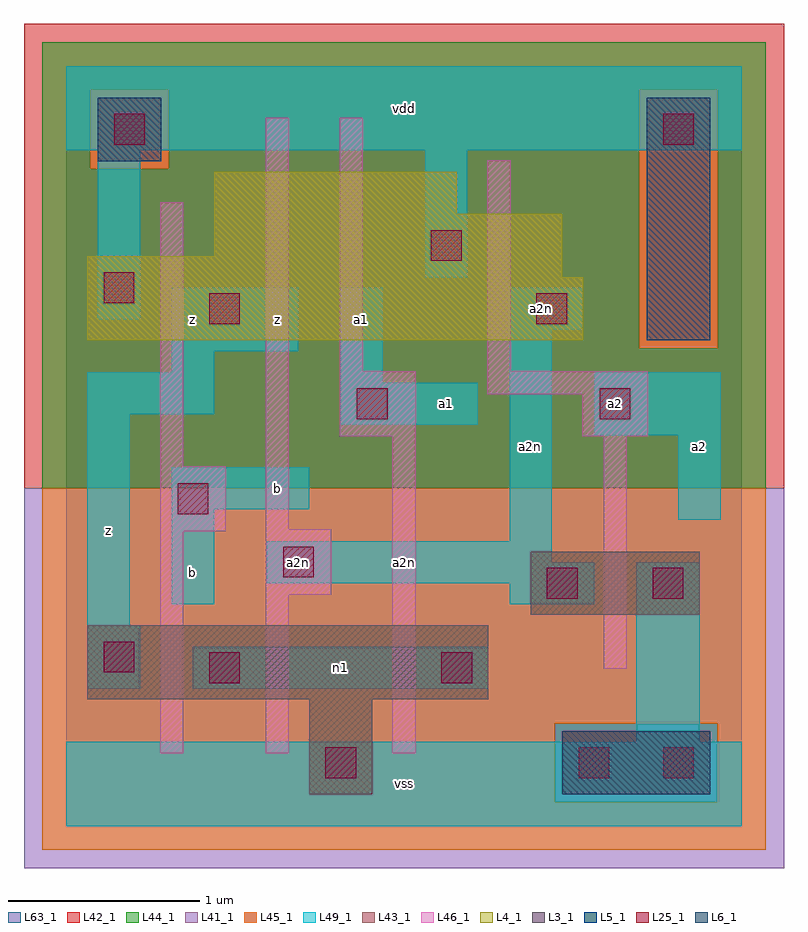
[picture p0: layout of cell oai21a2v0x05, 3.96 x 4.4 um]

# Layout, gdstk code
import gdstk
lib = gdstk.Library(unit=1e-6, precision=1e-09)
def R(c, l, rs):  # rectangles x0, y0, x1, y1
    for r in rs: c.add(gdstk.rectangle(r[:2], r[2:], *l))
L3_1 = (3, 1)
L4_1 = (4, 1)
L5_1 = (5, 1)
L6_1 = (6, 1)
L25_1 = (25, 1)
L41_1 = (41, 1)
L42_1 = (42, 1)
L43_1 = (43, 1)
L44_1 = (44, 1)
L45_1 = (45, 1)
L46_1 = (46, 1)
L49_1 = (49, 1)
L63_1 = (63, 1)

oai21a2v0x05 = lib.new_cell('oai21a2v0x05')
R(oai21a2v0x05, L3_1, [(1.265,0.165,1.595,0.66), (0.11,0.66,2.2,1.045), (2.42,1.1,3.3,1.43)])
R(oai21a2v0x05, L4_1, [(0.11,2.53,2.695,2.86), (0.11,2.86,2.585,2.97), (0.77,2.97,2.585,3.19), (0.77,3.19,2.035,3.41)])
R(oai21a2v0x05, L5_1, [(3.025,2.53,3.355,3.795), (0.165,3.465,0.495,3.795)])
R(oai21a2v0x05, L6_1, [(2.585,0.165,3.355,0.495)])
R(oai21a2v0x05, L25_1, [(1.35,0.25,1.51,0.41), (2.67,0.25,2.83,0.41), (3.11,0.25,3.27,0.41), (0.745,0.745,0.905,0.905), (1.955,0.745,2.115,0.905), (0.195,0.8,0.355,0.96), (2.505,1.185,2.665,1.345), (3.055,1.185,3.215,1.345), (1.13,1.295,1.29,1.455), (0.58,1.625,0.74,1.785), (1.515,2.12,1.675,2.28), (2.78,2.12,2.94,2.28), (0.745,2.615,0.905,2.775), (2.45,2.615,2.61,2.775), (0.195,2.725,0.355,2.885), (1.9,2.945,2.06,3.105), (0.25,3.55,0.41,3.71), (3.11,3.55,3.27,3.71)])
R(oai21a2v0x05, L41_1, [(-0.22,-0.22,3.74,1.76)])
R(oai21a2v0x05, L42_1, [(-0.22,1.76,3.74,4.18)])
R(oai21a2v0x05, L43_1, [(1.265,0.165,1.595,0.66), (2.585,0.165,3.355,0.495), (0.11,0.66,2.2,1.045), (2.42,1.1,3.3,1.43), (0.11,2.53,2.695,2.86), (3.025,2.53,3.355,3.795), (0.11,2.86,2.585,2.97), (0.77,2.97,2.585,3.19), (0.77,3.19,2.035,3.41), (0.165,3.465,0.495,3.795)])
R(oai21a2v0x05, L44_1, [(2.545,0.125,3.395,0.535), (-0.125,1.76,3.645,2.49), (-0.125,2.49,2.985,3.425), (3.395,2.49,3.645,3.835), (-0.125,3.425,0.125,3.835), (0.535,3.425,2.985,3.835), (-0.125,3.835,3.645,4.085)])
R(oai21a2v0x05, L45_1, [(-0.125,-0.125,3.645,0.125), (-0.125,0.125,2.545,0.535), (3.395,0.125,3.645,0.535), (-0.125,0.535,3.645,1.76), (2.985,2.49,3.395,3.835), (0.125,3.425,0.535,3.835)])
R(oai21a2v0x05, L46_1, [(0.49,0.38,0.61,1.535), (1.04,0.38,1.16,1.205), (1.7,0.38,1.82,2.03), (2.8,0.82,2.92,2.03), (1.04,1.205,1.38,1.545), (0.49,1.535,0.83,1.875), (1.04,1.545,1.16,3.69), (0.49,1.875,0.61,3.25), (1.425,2.03,1.82,2.37), (2.69,2.03,3.03,2.25), (2.195,2.25,3.03,2.37), (1.425,2.37,1.545,3.69), (2.195,2.37,2.315,3.47)])
R(oai21a2v0x05, L49_1, [(0,0,3.52,0.44), (2.97,0.44,3.3,1.375), (0.11,0.715,0.385,1.045), (0.66,0.715,2.2,0.935), (0.11,1.045,0.33,2.145), (0.55,1.155,0.77,1.65), (2.31,1.155,2.75,1.265), (1.045,1.265,2.75,1.375), (1.045,1.375,2.53,1.485), (2.31,1.485,2.53,2.585), (3.19,1.595,3.41,2.035), (0.55,1.65,1.265,1.87), (2.75,2.035,3.41,2.365), (1.43,2.09,2.145,2.31), (0.11,2.145,0.77,2.365), (1.43,2.31,1.65,2.805), (0.55,2.365,0.77,2.475), (0.55,2.475,1.21,2.805), (2.31,2.585,2.695,2.805), (0.165,2.64,0.385,3.52), (1.87,2.86,2.09,3.52), (0,3.52,3.52,3.96)])
R(oai21a2v0x05, L63_1, [(0,0,3.52,3.96)])
oai21a2v0x05.add(gdstk.Label('a2n', (1.21,1.375), layer=49, texttype=1))
oai21a2v0x05.add(gdstk.Label('z', (0.22,1.54), layer=49, texttype=1))
oai21a2v0x05.add(gdstk.Label('b', (0.66,1.32), layer=49, texttype=1))
oai21a2v0x05.add(gdstk.Label('z', (0.66,2.64), layer=49, texttype=1))
oai21a2v0x05.add(gdstk.Label('b', (1.1,1.76), layer=49, texttype=1))
oai21a2v0x05.add(gdstk.Label('a1', (1.54,2.64), layer=49, texttype=1))
oai21a2v0x05.add(gdstk.Label('z', (1.1,2.64), layer=49, texttype=1))
oai21a2v0x05.add(gdstk.Label('vss', (1.76,0.22), layer=49, texttype=1))
oai21a2v0x05.add(gdstk.Label('n1', (1.43,0.825), layer=49, texttype=1))
oai21a2v0x05.add(gdstk.Label('a2n', (1.76,1.375), layer=49, texttype=1))
oai21a2v0x05.add(gdstk.Label('a2n', (2.42,1.98), layer=49, texttype=1))
oai21a2v0x05.add(gdstk.Label('a1', (1.98,2.2), layer=49, texttype=1))
oai21a2v0x05.add(gdstk.Label('a2n', (2.475,2.695), layer=49, texttype=1))
oai21a2v0x05.add(gdstk.Label('vdd', (1.76,3.74), layer=49, texttype=1))
oai21a2v0x05.add(gdstk.Label('a2', (3.3,1.98), layer=49, texttype=1))
oai21a2v0x05.add(gdstk.Label('a2', (2.86,2.2), layer=49, texttype=1))

lib.write_gds('oai21a2v0x05.gds')
